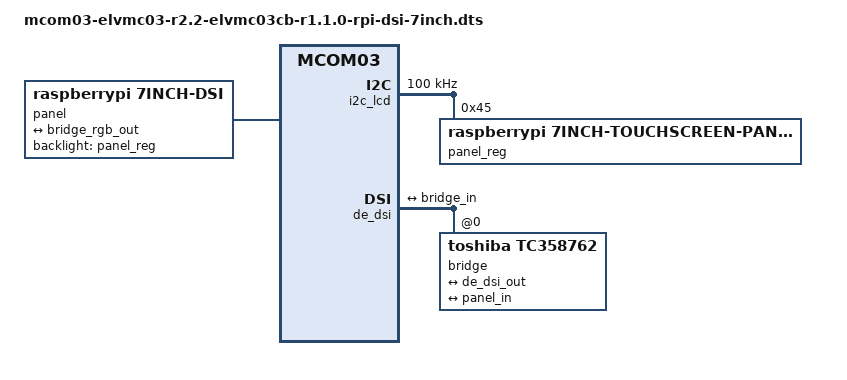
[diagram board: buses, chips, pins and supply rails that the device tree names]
// SPDX-License-Identifier: GPL-2.0+
// Copyright 2023 RnD Center "ELVEES", JSC

/dts-v1/;

#include "mcom03-elvmc03-r2.2-elvmc03cb-r1.1.0.dts"

/ {
	compatible = "elvees,elvmc03-r2.2-elvmc03cb-r1.1.0-rpi-dsi-7inch",
		     "elvees,elvmc03-r2.2-elvmc03cb-r1.1.0",
		     "elvees,elvmc03-elvmc03cb",
		     "elvees,elvmc03cb-r1.1.0",
		     "elvees,elvmc03cb",
		     "elvees,elvmc03-r2.2",
		     "elvees,elvmc03",
		     "elvees,mcom03";

	panel {
		#address-cells = <1>;
		#size-cells = <0>;
		compatible = "raspberrypi,7inch-dsi";
		backlight = <&panel_reg>;

		ports {
			#address-cells = <1>;
			#size-cells = <0>;

			port {
				panel_in: endpoint {
					remote-endpoint = <&bridge_rgb_out>;
				};
			};
		};
	};
};

&i2c_lcd {
	clock-frequency = <100000>;
	status = "okay";

	panel_reg: regulator@45 {
		compatible = "raspberrypi,7inch-touchscreen-panel-regulator";
		reg = <0x45>;
		gpio-controller;
		#gpio-cells = <2>;
	};
};

&de_dsi {
	status = "okay";

	bridge@0 {
		#address-cells = <1>;
		#size-cells = <0>;
		compatible = "toshiba,tc358762";
		reg = <0>;

		ports {
			#address-cells = <1>;
			#size-cells = <0>;

			port@0 {
				reg = <0>;

				bridge_in: endpoint {
					remote-endpoint = <&de_dsi_out>;
				};
			};

			port@1 {
				reg = <1>;

				bridge_rgb_out: endpoint {
					remote-endpoint = <&panel_in>;
				};
			};
		};
	};

	ports {
		port@1 {
			reg = <1>;

			de_dsi_out: endpoint {
				remote-endpoint = <&bridge_in>;
			};
		};
	};
};
